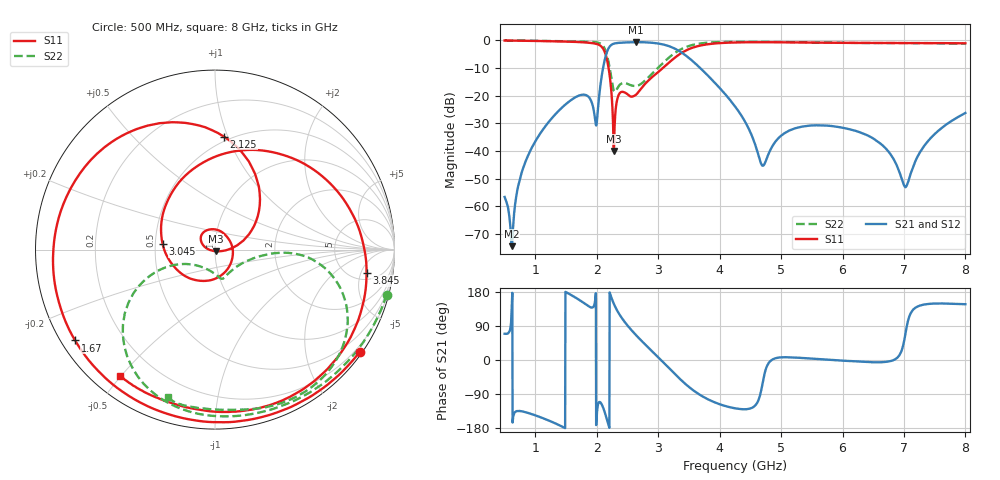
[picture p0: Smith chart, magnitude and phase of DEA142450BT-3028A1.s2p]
! S-parameter Generated by TDK Corporation
! Copyright(C) 2018 TDK Corporation.
! All Rights Reserved.
! BPF
! Date: 2018/06
! TDK P/N: DEA142450BT-3028A1
! Frequency: Start=500.0MHz Stop=8.0GHz
! Port Assignments
!  1(In)---|  |---2(Out)
! Terms and conditions regarding TDK Simulation Models
! (1)This simulation model is being provided solely for informational purposes. Please refer to the specifications of the products in terms of detailed characteristics of such products.
! (2)In no event shall TDK Corporation of any of its subsidiaries be liable for any loss or damage arising, directly or indirectly,
!  From any information contained in this simulation model, including, but not limited to loss or damages arising from any inaccuracies, omissions or errors in connection with such information.
! (3)Any and all copyrights on this simulation model are owned by TDK Corporation.
!  Duplication or redistribution of this simulation model without prior written permission from TDK Corporation is prohibited.
! (4)This simulation model is subject to any modification or change without any prior notice.
! (5)Neither TDK Corporation nor any of its subsidiaries shall make any warranty, express or implied,
!  Including but not limited to the correctness, implied warranties of merchantability and fitness for a particular purpose with respect to this simulation models.
! (6)The use of this simulation model shall be deemed to have consented to the terms and conditions hereof.
# MHz S DB R 50
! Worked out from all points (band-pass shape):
!   1501 points, 500 MHz to 8 GHz, reference 50 ohm
!   highest |S21| = -0.70 dB at 2.64 GHz (marker M1); lowest = -74.3 dB at 615 MHz (marker M2)
!   |S21| within 3 dB of the highest: 2.175 GHz to 3.326 GHz (1.15 GHz wide, 41.8 % of centre)
!   lowest |S11| = -39.9 dB at 2.275 GHz (marker M3), VSWR 1.02, Z = 50.5 - j0.905 ohm
!   |S11| at or under -10 dB: 2.192 GHz to 3.079 GHz (887.3 MHz wide, 33.7 % of centre)
!   |S22| runs from -18.6 to -0.1 dB; largest |S21 - S12| = 0.00096
!   S11 on the Smith chart (normalised r, x): 500 MHz: 0.07, -3.15; 1.67 GHz: 0.04, -0.30; 2.125 GHz: 0.46, +0.97; 3.045 GHz: 0.55, +0.04; 3.845 GHz: 6.55, -6.33; 8 GHz: 0.08, -0.50
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500  -0.12 -35.2  -56.57 69.3  -56.56 69.8  -0.10 -14.7
615  -0.15 -43.7  -74.34 134.0  -73.62 136.2  -0.13 -18.1
735  -0.19 -53.0  -51.38 -134.9  -51.28 -134.5  -0.16 -22.0
915  -0.25 -67.4  -40.05 -141.4  -40.03 -141.5  -0.20 -28.1
1670  -0.64 -147.0  -20.39 163.2  -20.39 163.2  -0.45 -64.0
1750  -0.73 -159.2  -19.73 154.8  -19.73 154.8  -0.49 -69.9
1990  -1.32 147.5  -30.79 -171.8  -30.80 -171.6  -0.76 -97.7
2125  -4.00 85.5  -7.55 -135.4  -7.55 -135.4  -2.87 -135.2
2275  -39.94 -63.0  -1.27 149.4  -1.28 149.4  -18.09 -131.1
2380  -18.96 129.9  -0.93 117.5  -0.93 117.5  -15.99 -80.8
2640  -19.65 -18.3  -0.70 65.5  -0.70 65.5  -16.52 -46.7
3000  -11.51 -169.7  -1.20 7.1  -1.20 7.2  -9.88 -3.8
3045  -10.66 174.2  -1.38 -0.1  -1.38 -0.1  -8.92 -2.9
3400  -4.34 65.8  -4.75 -57.0  -4.76 -57.0  -2.96 -15.6
3845  -1.37 -8.8  -13.59 -106.4  -13.58 -106.3  -0.83 -40.9
4250  -0.82 -42.2  -23.88 -127.4  -23.88 -127.3  -0.57 -54.7
4700  -0.73 -64.4  -45.32 -60.4  -45.31 -60.3  -0.60 -64.8
5500  -0.86 -87.3  -30.78 3.6  -30.78 3.6  -0.83 -78.3
6750  -1.04 -108.2  -40.24 -3.9  -40.28 -3.5  -1.04 -95.0
7030  -1.05 -112.2  -52.99 74.8  -52.97 74.2  -1.04 -98.3
7375  -1.07 -117.3  -36.86 147.4  -36.87 147.5  -1.07 -102.1
8000  -1.12 -127.0  -26.26 147.2  -26.26 147.4  -1.27 -107.7
